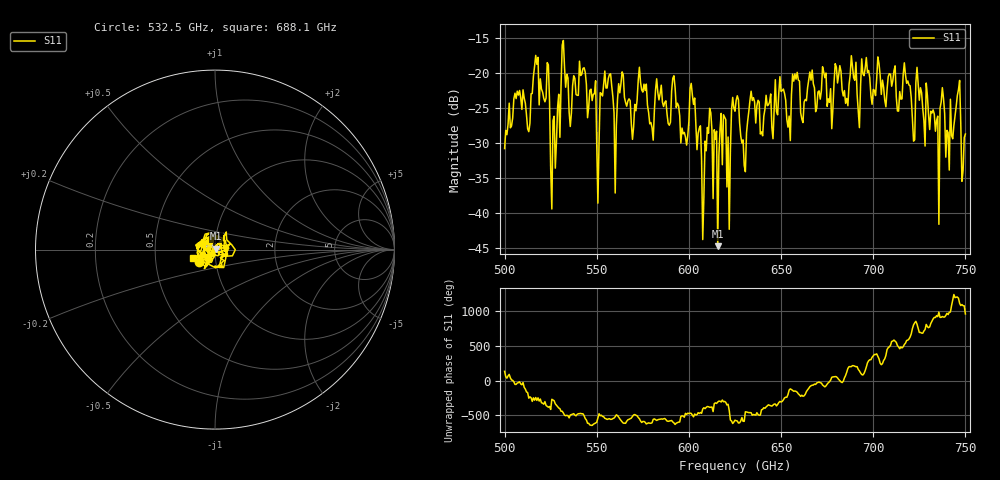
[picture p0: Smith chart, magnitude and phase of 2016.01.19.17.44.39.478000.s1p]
!Created with skrf (http://scikit-rf.org).
# GHz S RI R 50.0
!freq ReS11 ImS11
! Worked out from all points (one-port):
!   401 points, 500 GHz to 750 GHz, reference 50 ohm
!   lowest |S11| = -44.7 dB at 615.6 GHz (marker M1), VSWR 1.01, Z = 50.4 + j0.436 ohm
!   |S11| at or under -10 dB: start of sweep to end of sweep
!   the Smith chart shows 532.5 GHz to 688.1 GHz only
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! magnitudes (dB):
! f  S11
! 500 GHz  -30.8
! 506.9 GHz  -22.6
! 513.1 GHz  -28.4
! 516.9 GHz  -17.5
! 523.1 GHz  -18.5
! 526.2 GHz  -26.8
! 531.2 GHz  -16.0
! 541.9 GHz  -20.1
! 551.2 GHz  -29.8
! 553.1 GHz  -23.3
! 560 GHz  -37.1
! 562.5 GHz  -22.8
! 593.8 GHz  -24.3
! 598.1 GHz  -29.1
! 601.9 GHz  -23.1
! 608.1 GHz  -37.6
! 611.2 GHz  -25.0
! 615.6 GHz  -44.7
! 621.9 GHz  -42.3
! 625 GHz  -25.4
! 629.4 GHz  -29.5
! 634.4 GHz  -23.9
! 656.2 GHz  -20.2
! 687.5 GHz  -20.3
! 718.8 GHz  -21.1
! 734.4 GHz  -26.8
! 745.6 GHz  -23.2
! 750 GHz  -28.7
